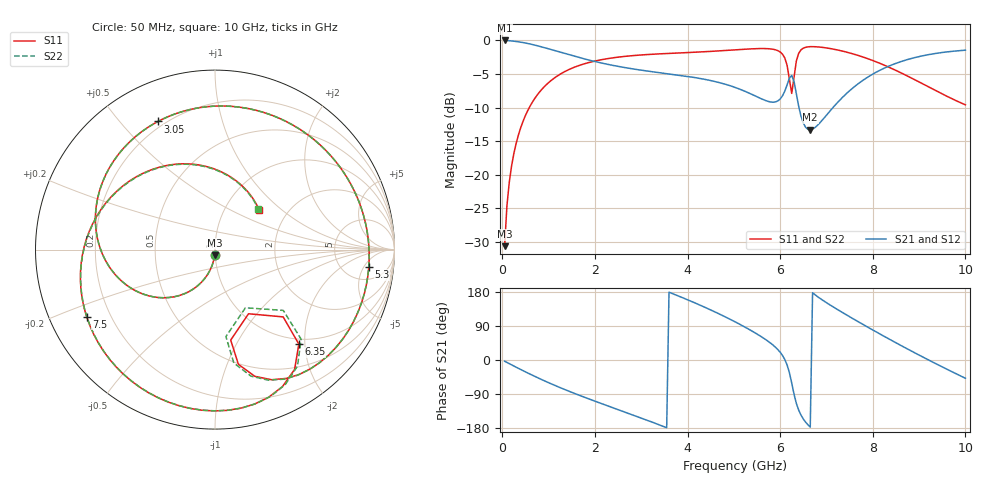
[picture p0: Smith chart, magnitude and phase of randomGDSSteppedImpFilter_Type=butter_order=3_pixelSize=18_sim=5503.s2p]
! freq	dB(S11)	phase(S11)	dB(S12)	phase(S12)
!  dB(S21)	phase(S21)	dB(S22)	phase(S22)
!S-par simulation data
#  GHz  S  DB  R 50
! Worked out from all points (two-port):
!   200 points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, 50 MHz to 10 GHz, reference 50 ohm
!   highest |S21| = -0.01 dB at 50 MHz (marker M1); lowest = -13.3 dB at 6.65 GHz (marker M2)
!   |S21| within 3 dB of the highest: start of sweep to 1.918 GHz; 8.674 GHz to end of sweep
!   lowest |S11| = -30.6 dB at 50 MHz (marker M3), VSWR 1.06, Z = 49.7 - j2.92 ohm
!   |S11| at or under -10 dB: start of sweep to 583.4 MHz
!   |S22| runs from -30.6 to -0.9 dB; largest |S21 - S12| = 0
!   S11 on the Smith chart (normalised r, x): 50 MHz: 0.99, -0.06; 3.05 GHz: 0.17, +0.64; 5.3 GHz: 9, -6; 6.35 GHz: 0.90, -1.88; 7.5 GHz: 0.11, -0.24; 10 GHz: 1.44, +0.72
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0.05  -30.63 -93.4  -0.01 -3.2  -0.01 -3.2  -30.63 -93.4
0.2  -18.71 -103.3  -0.08 -12.8  -0.08 -12.8  -18.71 -103.3
0.5  -11.18 -121.9  -0.39 -31.3  -0.39 -31.3  -11.18 -121.9
1.05  -5.99 -153.1  -1.35 -62.6  -1.35 -62.6  -5.99 -153.2
1.75  -3.52 172.2  -2.71 -97.2  -2.71 -97.2  -3.53 172.1
3.05  -2.14 114.0  -4.48 -155.5  -4.48 -155.5  -2.14 113.8
3.4  -2.00 98.0  -4.81 -171.6  -4.81 -171.6  -2.00 97.7
4.25  -1.73 55.8  -5.64 145.9  -5.64 145.9  -1.73 55.4
5.05  -1.39 9.7  -7.05 99.3  -7.05 99.3  -1.40 9.4
5.3  -1.28 -6.4  -7.75 82.8  -7.75 82.8  -1.29 -6.8
5.8  -1.27 -42.7  -9.17 43.9  -9.17 43.9  -1.28 -43.4
6.15  -3.71 -78.5  -6.62 -13.1  -6.62 -13.1  -3.87 -80.6
6.25  -7.89 -62.4  -5.21 -60.8  -5.21 -60.8  -8.74 -62.4
6.35  -3.05 -48.4  -7.94 -114.6  -7.94 -114.6  -3.19 -46.1
6.45  -1.41 -63.8  -11.28 -145.4  -11.28 -145.4  -1.44 -62.4
6.65  -0.93 -85.8  -13.31 -177.1  -13.31 -177.1  -0.94 -85.0
6.7  -0.93 -90.3  -13.21 177.4  -13.21 177.4  -0.93 -89.6
7.1  -1.23 -122.8  -10.32 143.5  -10.32 143.5  -1.23 -122.2
7.5  -1.86 -152.5  -7.49 114.2  -7.49 114.2  -1.86 -151.9
8.35  -3.99 147.7  -3.82 55.4  -3.82 55.4  -3.99 148.4
9.2  -6.90 91.2  -2.12 0.3  -2.12 0.3  -6.90 92.1
10  -9.59 42.3  -1.45 -48.2  -1.45 -48.2  -9.59 43.5
